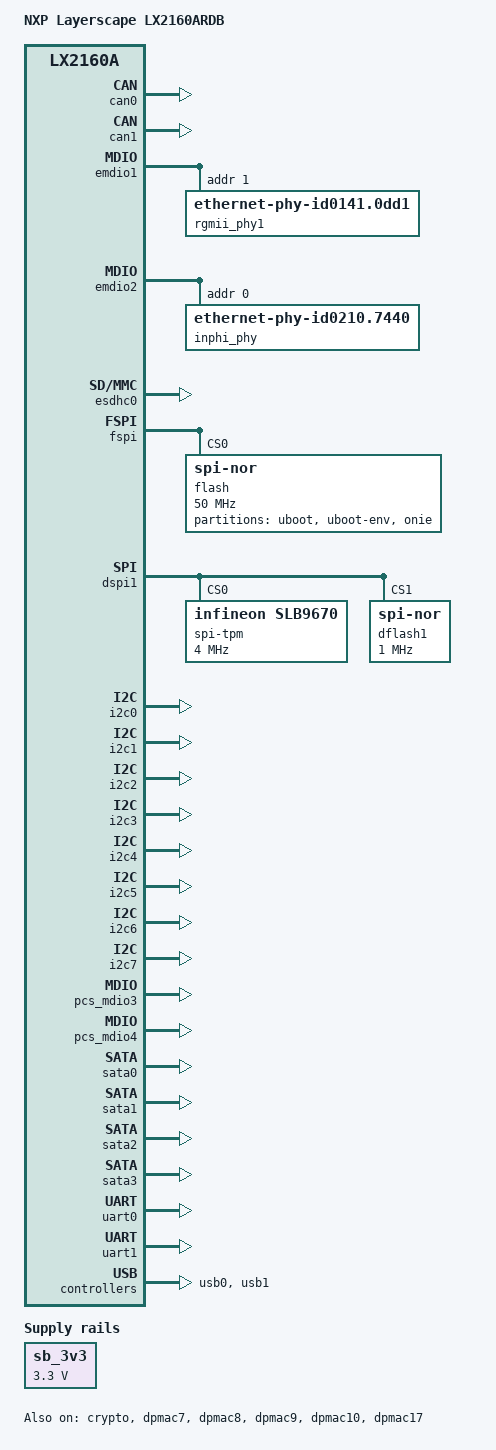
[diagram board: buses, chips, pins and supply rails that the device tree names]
// SPDX-License-Identifier: (GPL-2.0 OR MIT)
//
// Device Tree file for LX2160ARDB
//
// Copyright 2018-2020 NXP

/dts-v1/;

#include "accton-as4581-52pl.dtsi"

/ {
	model = "NXP Layerscape LX2160ARDB";
	compatible = "fsl,lx2160a-rdb", "fsl,lx2160a";

	aliases {
		crypto = &crypto;
		serial0 = &uart0;
	};

	chosen {
		stdout-path = "serial0:115200n8";
	};

	sb_3v3: regulator-sb3v3 {
		compatible = "regulator-fixed";
		regulator-name = "MC34717-3.3VSB";
		regulator-min-microvolt = <3300000>;
		regulator-max-microvolt = <3300000>;
		regulator-boot-on;
		regulator-always-on;
	};
};

&can0 {
	status = "okay";

	can-transceiver {
		max-bitrate = <5000000>;
	};
};

&can1 {
	status = "okay";

	can-transceiver {
		max-bitrate = <5000000>;
	};
};

&crypto {
	status = "okay";
};

&dpmac7 {
    status = "okay";
	/*phy-handle = <&aquantia_phy1>;*/
    fixed-link = <10 1 10000 0 0>;
	phy-connection-type = "usxgmii";
	/*managed = "in-band-status";*/
};
&dpmac8 {
    status = "okay";
	/*phy-handle = <&aquantia_phy2>;*/
    fixed-link = <11 1 10000 0 0>;
	phy-connection-type = "usxgmii";
	/*managed = "in-band-status";*/
};
&dpmac9 {
    status = "okay";
	/*phy-handle = <&aquantia_phy1>;*/
    fixed-link = <12 1 10000 0 0>;
	phy-connection-type = "usxgmii";
	/*managed = "in-band-status";*/
};
&dpmac10 {
    status = "okay";
	/*phy-handle = <&aquantia_phy2>;*/
    fixed-link = <13 1 10000 0 0>;
	phy-connection-type = "usxgmii";
	/*managed = "in-band-status";*/
};
&dpmac17 {
    status = "okay";
	phy-handle = <&rgmii_phy1>;
	phy-connection-type = "rgmii-id";
};

&emdio1 {
	status = "okay";

	rgmii_phy1: ethernet-phy@1 {
		/* AR8035 PHY */
		/*compatible = "ethernet-phy-id004d.d072";*/
        compatible = "ethernet-phy-id0141.0dd1";
		reg = <0x1>;
		eee-broken-1000t;
	};
};

&emdio2 {
	status = "okay";
};

&esdhc0 {
	status = "okay";
};

&fspi {
	status = "okay";

    flash@0 {
		#address-cells = <1>;
		#size-cells = <1>;
		compatible = "jedec,spi-nor";
		reg = <0>;
		spi-max-frequency = <50000000>;
		#spi-rx-bus-width = <4>;
                partition@0 {
                        reg = <0x0 0x1000000>;
                        label = "uboot";
                };

                partition@1 {
                        reg = <0x1000000 0x100000>;
                        label = "uboot-env";
                };

                partition@2 {
                        reg = <0x1100000 0x2800000>;
                        label = "onie";
                };
    };
};

&dspi1 {
    status = "okay";
    spi-tpm@0 {
        compatible = "infineon,slb9670";
        /*mode 0*/
        reg = <0>;
        /*spi-max-frequency = <38000000>;*/
        spi-max-frequency = <4000000>;
    };
	dflash1: flash@1 {
		#address-cells = <1>;
		#size-cells = <1>;
		compatible = "jedec,spi-nor";
		reg = <1>;
		spi-max-frequency = <1000000>;
	};
};

&i2c0 {
	status = "okay";
};
&i2c1 {
	status = "okay";
};
&i2c2 {
	status = "okay";
};
&i2c3 {
	status = "okay";
};
&i2c4 {
	status = "okay";
};
&i2c5 {
	status = "okay";
};
&i2c6 {
	status = "okay";
};
&i2c7 {
	status = "okay";
};

&pcs_mdio3 {
	status = "okay";
};

&pcs_mdio4 {
	status = "okay";
};

&sata0 {
	status = "okay";
};

&sata1 {
	status = "okay";
};

&sata2 {
	status = "okay";
};

&sata3 {
	status = "okay";
};

&uart0 {
	status = "okay";
};

&uart1 {
	status = "okay";
};

&usb0 {
	status = "okay";
};

&usb1 {
	status = "okay";
};

&emdio2 {
	inphi_phy: ethernet-phy@0 {
		compatible = "ethernet-phy-id0210.7440";
		reg = <0x0>;
	};
};

&dpmac5 {
	phy-handle = <&inphi_phy>;
};

&dpmac6 {
	phy-handle = <&inphi_phy>;
};
